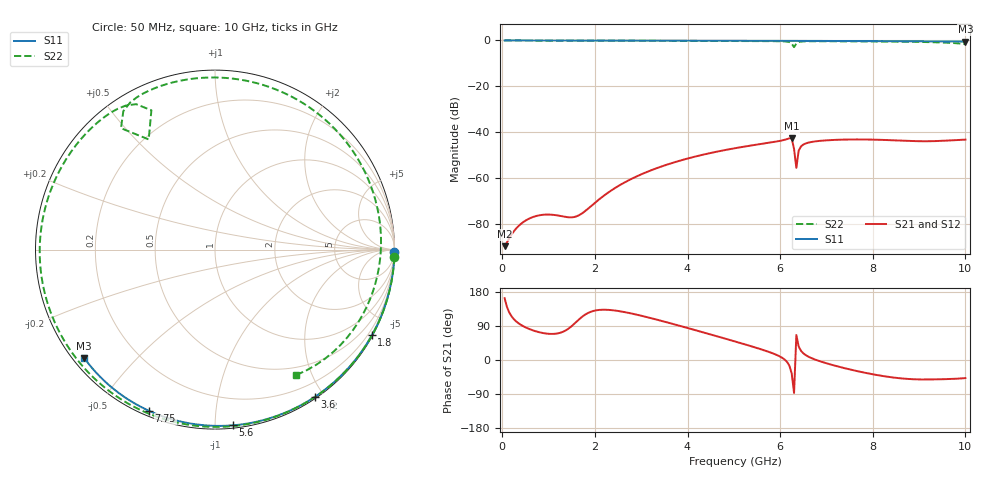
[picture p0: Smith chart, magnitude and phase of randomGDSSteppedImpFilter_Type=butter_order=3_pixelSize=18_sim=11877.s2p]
! freq	dB(S11)	phase(S11)	dB(S12)	phase(S12)
!  dB(S21)	phase(S21)	dB(S22)	phase(S22)
!S-par simulation data
#  GHz  S  DB  R 50
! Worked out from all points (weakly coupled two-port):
!   200 points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, 50 MHz to 10 GHz, reference 50 ohm
!   highest |S21| = -42.60 dB at 6.25 GHz (marker M1); lowest = -89.6 dB at 50 MHz (marker M2)
!   lowest |S11| = -0.5 dB at 10 GHz (marker M3), VSWR 36.37, Z = 1.55 - j18 ohm
!   |S11| at or under -10 dB: nowhere
!   |S22| runs from -2.9 to 0.0 dB; largest |S21 - S12| = 0
!   S11 on the Smith chart (normalised r, x): 50 MHz: open; 1.8 GHz: 0.03, -3.91; 3.6 GHz: 0.02, -1.88; 5.6 GHz: 0.02, -1.11; 7.75 GHz: 0.02, -0.67; 10 GHz: 0.03, -0.36
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0.05  -0.00 -0.8  -89.59 163.2  -89.59 163.2  -0.00 -2.4
0.95  -0.02 -15.3  -75.83 69.7  -75.83 69.7  -0.05 -45.4
1.5  -0.03 -24.0  -77.04 89.6  -77.04 89.6  -0.08 -69.9
1.75  -0.04 -27.9  -74.91 116.5  -74.91 116.5  -0.10 -80.5
1.8  -0.04 -28.7  -74.13 120.6  -74.13 120.6  -0.10 -82.5
2.55  -0.05 -40.2  -62.87 128.4  -62.87 128.4  -0.13 -112.0
3.4  -0.07 -53.0  -55.15 104.5  -55.15 104.5  -0.16 -142.4
3.6  -0.08 -56.0  -53.79 97.9  -53.79 97.9  -0.16 -149.2
5.05  -0.12 -76.7  -46.83 48.1  -46.83 48.1  -0.23 162.9
5.6  -0.14 -84.2  -45.04 27.8  -45.04 27.8  -0.27 144.2
6.05  -0.16 -90.3  -43.50 5.4  -43.50 5.4  -0.37 127.0
6.25  -0.17 -92.9  -42.60 -35.7  -42.60 -35.7  -1.38 114.5
6.3  -0.17 -93.6  -47.27 -87.0  -47.27 -87.0  -2.90 121.0
6.35  -0.17 -94.2  -55.50 66.0  -55.50 66.0  -1.36 127.7
6.4  -0.18 -94.9  -47.98 35.5  -47.98 35.5  -0.68 123.5
6.45  -0.18 -95.5  -46.16 24.3  -46.16 24.3  -0.48 120.0
6.7  -0.19 -98.8  -44.13 3.8  -44.13 3.8  -0.35 108.1
7.75  -0.26 -112.3  -43.12 -31.6  -43.12 -31.6  -0.41 65.2
8.35  -0.31 -119.8  -43.40 -44.7  -43.40 -44.7  -0.49 38.6
9.3  -0.40 -131.6  -43.86 -51.2  -43.86 -51.2  -0.76 -9.1
9.65  -0.44 -136.0  -43.56 -50.2  -43.56 -50.2  -1.01 -30.4
10  -0.48 -140.4  -43.19 -47.7  -43.19 -47.7  -1.59 -57.1
